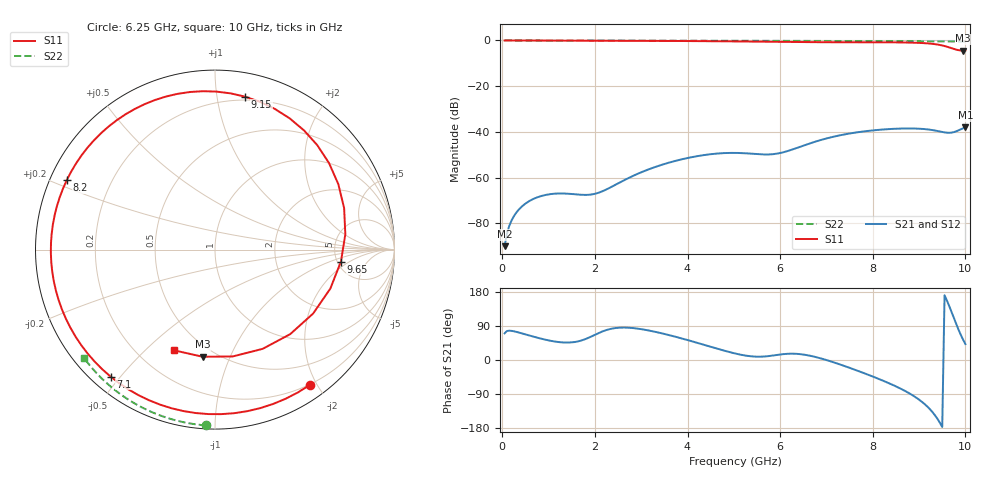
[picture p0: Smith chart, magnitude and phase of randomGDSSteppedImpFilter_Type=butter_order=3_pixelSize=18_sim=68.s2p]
! freq	dB(S11)	phase(S11)	dB(S12)	phase(S12)
!  dB(S21)	phase(S21)	dB(S22)	phase(S22)
!S-par simulation data
#  GHz  S  DB  R 50
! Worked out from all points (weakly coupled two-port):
!   200 points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, 50 MHz to 10 GHz, reference 50 ohm
!   highest |S21| = -37.98 dB at 10 GHz (marker M1); lowest = -90.0 dB at 50 MHz (marker M2)
!   lowest |S11| = -4.4 dB at 9.95 GHz (marker M3), VSWR 4.01, Z = 21.3 - j39.8 ohm
!   |S11| at or under -10 dB: nowhere
!   |S22| runs from -0.5 to 0.0 dB; largest |S21 - S12| = 0
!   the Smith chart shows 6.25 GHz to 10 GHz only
!   S11 on the Smith chart (normalised r, x): 6.25 GHz: 0.19, -1.91; 7.1 GHz: 0.05, -0.47; 8.2 GHz: 0.05, +0.22; 9.15 GHz: 0.17, +1.20; 9.65 GHz: 5.39, -1.43; 10 GHz: 0.35, -0.62
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0.05  -0.00 -3.6  -90.02 70.3  -90.02 70.3  -0.00 -0.8
0.9  -0.08 -63.2  -67.76 54.4  -67.76 54.4  -0.02 -14.5
1.75  -0.12 -114.1  -67.57 53.2  -67.57 53.2  -0.04 -27.9
2.6  -0.15 -157.7  -61.48 85.6  -61.48 85.6  -0.05 -41.1
3.4  -0.20 163.0  -54.70 71.7  -54.70 71.7  -0.07 -53.1
4.4  -0.30 106.9  -50.03 38.5  -50.03 38.5  -0.10 -67.6
5.05  -0.43 59.4  -49.21 16.5  -49.21 16.5  -0.12 -76.8
5.65  -0.59 4.8  -49.89 9.1  -49.89 9.1  -0.14 -85.0
5.95  -0.67 -25.2  -49.46 13.7  -49.46 13.7  -0.15 -89.0
6.25  -0.72 -55.0  -47.82 16.7  -47.82 16.7  -0.17 -93.0
6.7  -0.75 -96.7  -44.66 9.8  -44.66 9.8  -0.19 -98.9
7.1  -0.76 -129.5  -42.37 -3.9  -42.37 -3.9  -0.22 -104.0
7.65  -0.77 -168.9  -40.23 -27.3  -40.23 -27.3  -0.25 -111.0
8.2  -0.80 154.7  -38.99 -53.5  -38.99 -53.5  -0.29 -117.9
8.35  -0.82 144.7  -38.78 -61.3  -38.78 -61.3  -0.31 -119.8
8.8  -0.93 111.8  -38.51 -88.7  -38.51 -88.7  -0.35 -125.4
9.15  -1.23 78.9  -38.84 -119.6  -38.84 -119.6  -0.38 -129.7
9.4  -1.78 45.6  -39.63 -155.9  -39.63 -155.9  -0.41 -132.8
9.65  -3.04 -5.4  -40.41 142.6  -40.41 142.6  -0.43 -135.9
9.8  -4.01 -48.4  -39.78 95.5  -39.78 95.5  -0.45 -137.7
9.95  -4.42 -96.6  -38.43 53.6  -38.43 53.6  -0.47 -139.6
10  -4.36 -112.0  -37.98 42.0  -37.98 42.0  -0.47 -140.2
